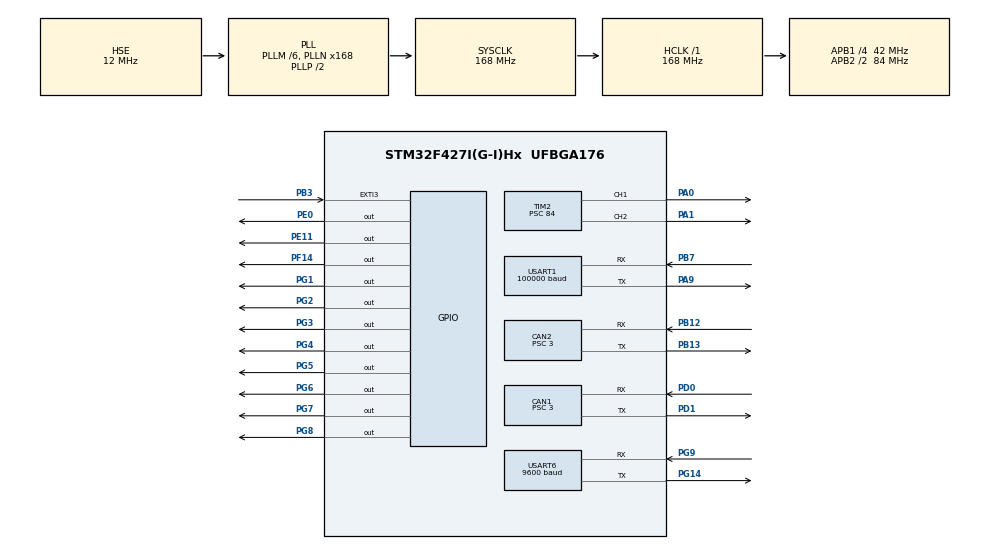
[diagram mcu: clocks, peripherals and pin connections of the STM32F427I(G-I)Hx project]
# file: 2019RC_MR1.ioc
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CAN1.BS1=CAN_BS1_9TQ
CAN1.BS2=CAN_BS2_4TQ
CAN1.CalculateTimeQuantum=71.42857142857143
CAN1.Prescaler=3
CAN2.BS1=CAN_BS1_9TQ
CAN2.BS2=CAN_BS2_4TQ
CAN2.CalculateTimeQuantum=71.42857142857143
CAN2.Prescaler=3
Dma.Request0=USART1_RX
Dma.Request1=USART6_RX
Dma.Request2=USART6_TX
Dma.USART1_RX.0.Direction=DMA_PERIPH_TO_MEMORY
Dma.USART1_RX.0.FIFOMode=DMA_FIFOMODE_DISABLE
Dma.USART1_RX.0.Instance=DMA2_Stream2
Dma.USART1_RX.0.MemDataAlignment=DMA_MDATAALIGN_BYTE
Dma.USART1_RX.0.MemInc=DMA_MINC_ENABLE
Dma.USART1_RX.0.Mode=DMA_NORMAL
Dma.USART1_RX.0.PeriphDataAlignment=DMA_PDATAALIGN_BYTE
Dma.USART1_RX.0.PeriphInc=DMA_PINC_DISABLE
Dma.USART1_RX.0.Priority=DMA_PRIORITY_LOW
Dma.USART6_RX.1.Direction=DMA_PERIPH_TO_MEMORY
Dma.USART6_RX.1.FIFOMode=DMA_FIFOMODE_DISABLE
Dma.USART6_RX.1.Instance=DMA2_Stream1
Dma.USART6_RX.1.MemDataAlignment=DMA_MDATAALIGN_BYTE
Dma.USART6_RX.1.MemInc=DMA_MINC_ENABLE
Dma.USART6_RX.1.Mode=DMA_NORMAL
Dma.USART6_RX.1.PeriphDataAlignment=DMA_PDATAALIGN_BYTE
Dma.USART6_RX.1.PeriphInc=DMA_PINC_DISABLE
Dma.USART6_RX.1.Priority=DMA_PRIORITY_LOW
Dma.USART6_TX.2.Direction=DMA_MEMORY_TO_PERIPH
Dma.USART6_TX.2.FIFOMode=DMA_FIFOMODE_DISABLE
Dma.USART6_TX.2.Instance=DMA2_Stream6
Dma.USART6_TX.2.MemDataAlignment=DMA_MDATAALIGN_BYTE
Dma.USART6_TX.2.MemInc=DMA_MINC_ENABLE
Dma.USART6_TX.2.Mode=DMA_NORMAL
Dma.USART6_TX.2.PeriphDataAlignment=DMA_PDATAALIGN_BYTE
Dma.USART6_TX.2.PeriphInc=DMA_PINC_DISABLE
Dma.USART6_TX.2.Priority=DMA_PRIORITY_LOW
FREERTOS.BinarySemaphores01=JudgeSignal,Dynamic,NULL
FREERTOS.Tasks01=MR1Other,0,128,MR1OtherTask,Default,NULL,Dynamic,NULL,NULL;LEDShowTask,0,128,LEDShow,Default,NULL,Dynamic,NULL,NULL;RobotTask,0,4096,MR1MainTask,Default,NULL,Dynamic,NULL,NULL
FREERTOS.Timers01=SuperviseTimer,SuperviseTask,osTimerPeriodic,Default,NULL,Dynamic,NULL
FREERTOS.configTIMER_TASK_PRIORITY=3
FREERTOS.configTOTAL_HEAP_SIZE=30000
FREERTOS.configUSE_TIMERS=1
Mcu.Family=STM32F4
Mcu.Name=STM32F427I(G-I)Hx
Mcu.Package=UFBGA176
NVIC.CAN1_RX0_IRQn=true\:5\:0\:false\:false\:true\:true\:true
NVIC.CAN2_RX0_IRQn=true\:5\:0\:false\:false\:true\:true\:true
NVIC.DMA2_Stream1_IRQn=true\:5\:0\:false\:false\:true\:true\:false
NVIC.DMA2_Stream2_IRQn=true\:5\:0\:false\:false\:true\:true\:false
NVIC.DMA2_Stream6_IRQn=true\:5\:0\:false\:false\:true\:true\:false
NVIC.EXTI3_IRQn=true\:5\:0\:false\:false\:true\:true\:true
NVIC.PriorityGroup=NVIC_PRIORITYGROUP_4
NVIC.TIM7_IRQn=true\:0\:0\:false\:false\:true\:false\:false
NVIC.TimeBase=TIM7_IRQn
NVIC.TimeBaseIP=TIM7
PA0/WKUP.Signal=S_TIM2_CH1_ETR
PA1.Signal=S_TIM2_CH2
PA13.Mode=Serial_Wire
PA13.Signal=SYS_JTMS-SWDIO
PA14.Mode=Serial_Wire
PA14.Signal=SYS_JTCK-SWCLK
PA9.Mode=Asynchronous
PA9.Signal=USART1_TX
PB12.Mode=Slave
PB12.Signal=CAN2_RX
PB13.Mode=Slave
PB13.Signal=CAN2_TX
PB3.Signal=GPXTI3
PB7.Mode=Asynchronous
PB7.Signal=USART1_RX
PD0.Mode=Master
PD0.Signal=CAN1_RX
PD1.Mode=Master
PD1.Signal=CAN1_TX
PD12.Signal=S_TIM4_CH1
PE0.GPIO_PuPd=GPIO_PULLUP
PE0.GPIO_Speed=GPIO_SPEED_FREQ_HIGH
PE0.Signal=GPIO_Output
PE11.Signal=GPIO_Output
PE7.Signal=UART7_RX
PE8.Signal=UART7_TX
PF14.Signal=GPIO_Output
PG1.Signal=GPIO_Output
PG14.Mode=Asynchronous
PG14.Signal=USART6_TX
PG2.Signal=GPIO_Output
PG3.Signal=GPIO_Output
PG4.Signal=GPIO_Output
PG5.Signal=GPIO_Output
PG6.Signal=GPIO_Output
PG7.Signal=GPIO_Output
PG8.Signal=GPIO_Output
PG9.Mode=Asynchronous
PG9.Signal=USART6_RX
PH0/OSC_IN.Mode=HSE-External-Oscillator
PH0/OSC_IN.Signal=RCC_OSC_IN
PH1/OSC_OUT.Mode=HSE-External-Oscillator
PH1/OSC_OUT.Signal=RCC_OSC_OUT
PI5.Signal=S_TIM8_CH1
PI6.Signal=S_TIM8_CH2
ProjectManager.HeapSize=0x200
ProjectManager.StackSize=0x400
ProjectManager.TargetToolchain=MDK-ARM V5
RCC.48MHZClocksFreq_Value=84000000
RCC.AHBFreq_Value=168000000
RCC.APB1CLKDivider=RCC_HCLK_DIV4
RCC.APB1Freq_Value=42000000
RCC.APB1TimFreq_Value=84000000
RCC.APB2CLKDivider=RCC_HCLK_DIV2
RCC.APB2Freq_Value=84000000
RCC.APB2TimFreq_Value=168000000
RCC.CortexFreq_Value=168000000
RCC.HCLKFreq_Value=168000000
RCC.HSE_VALUE=12000000
RCC.HSI_VALUE=16000000
RCC.LSE_VALUE=32768
RCC.PLLM=6
RCC.PLLN=168
RCC.PLLSourceVirtual=RCC_PLLSOURCE_HSE
RCC.SYSCLKFreq_VALUE=168000000
RCC.SYSCLKSource=RCC_SYSCLKSOURCE_PLLCLK
RCC.VCOOutputFreq_Value=336000000
SH.S_TIM2_CH1_ETR.0=TIM2_CH1,PWM Generation1 CH1
SH.S_TIM2_CH2.0=TIM2_CH2,PWM Generation2 CH2
SH.S_TIM4_CH1.0=TIM4_CH1
SH.S_TIM8_CH1.0=TIM8_CH1
SH.S_TIM8_CH2.0=TIM8_CH2
TIM2.Channel-PWM\ Generation1\ CH1=TIM_CHANNEL_1
TIM2.Channel-PWM\ Generation2\ CH2=TIM_CHANNEL_2
TIM2.Period=19999
TIM2.Prescaler=84
TIM2.Pulse-PWM\ Generation1\ CH1=1000
TIM2.Pulse-PWM\ Generation2\ CH2=1000
USART1.BaudRate=100000
USART1.Parity=PARITY_EVEN
USART1.VirtualMode=VM_ASYNC
USART6.BaudRate=9600
USART6.VirtualMode=VM_ASYNC
VP_FREERTOS_VS_ENABLE.Mode=Enabled
VP_SYS_VS_tim7.Mode=TIM7
board=custom

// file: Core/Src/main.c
/* USER CODE BEGIN Header */
/**
  ******************************************************************************
  * 文件名          : main.c
  * 文件描述        : 文件主函数
  * 创建时间        : 2019.02.16
  * 作者            : 任云帆
  *-----------------------------------------------------------------------------
  * 最近修改时间    : 2019.02.16
  * 修改人          : 任云帆
  ******************************************************************************
  * 1.本代码基于STM32F427IIH6开发，编译环境为Keil 5，基于FreeRTOS进行开发。
  * 2.本代码只适用于Robocon 2019MR1机器人，不建议用于其他用途
  * 3.本代码以UTF-8格式编码，请勿以ANSI编码形式打开
  * 4.本代码包含大量中文注释，请仔细通读代码后使用
  * 5.本代码最终解释权归哈尔滨工业大学（深圳）南工问天战队所有
  *
  * Copyright (c) 2019 哈尔滨工业大学（深圳）南工问天战队 版权所有
  ******************************************************************************
  */

/* USER CODE END Header */

#include "main.h"
#include "cmsis_os.h"
#include "can.h"
#include "dma.h"
#include "tim.h"
#include "usart.h"
#include "gpio.h"

/* USER CODE BEGIN Includes */
#include "CanReceive.h"
#include "UsartReceive.h"
#include "MR1Init.h"
/* USER CODE END Includes */

void SystemClock_Config(void);
void MX_FREERTOS_Init(void);
/* USER CODE BEGIN PFP */
//extern uint8_t GyroReceiveData; /*�����ǽ�������*/
/* USER CODE END PFP */

int main(void)
{

  /* MCU Configuration--------------------------------------------------------*/

  /* Reset of all peripherals, Initializes the Flash interface and the Systick. */
  HAL_Init();

  /* Configure the system clock */
  SystemClock_Config();

  /* Initialize all configured peripherals */
  MX_GPIO_Init();
  MX_DMA_Init();
  MX_CAN1_Init();
  MX_CAN2_Init();
  MX_USART1_UART_Init();
  MX_USART6_UART_Init();
  MX_TIM2_Init();
  /* USER CODE BEGIN 2 */
	HAL_TIM_Base_Start_IT(&htim2);
	HAL_TIM_PWM_Start(&htim2, TIM_CHANNEL_1);       //PWM1,���ڿ��ƻ�е��ĵ����ûд��
//	HAL_TIM_PWM_Start(&htim2, TIM_CHANNEL_2);       //PWM2,���ڿ��ƻ�е��ĵ����ûд��
	HAL_UART_Receive_DMA(&huart6, &UsartReceiveGyro, 1u);      //�������������ݽ��մ���6
  HAL_UART_Receive_DMA(&huart1, UsartReceiveRemote, 18u);              //����ң�������ݽ��մ���1
	CanFilterInit(&hcan1);          //��ʼ��CAN1������
	CanFilterInit(&hcan2);          //��ʼ��CAN2������
  /* USER CODE END 2 */

  /* Call init function for freertos objects (in freertos.c) */
  MX_FREERTOS_Init();

  /* Start scheduler */
  osKernelStart();

  /* We should never get here as control is now taken by the scheduler */

  /* Infinite loop */
  while (1)
  {

  }
}

void SystemClock_Config(void)
{
  RCC_OscInitTypeDef RCC_OscInitStruct = {0};
  RCC_ClkInitTypeDef RCC_ClkInitStruct = {0};

  /**Configure the main internal regulator output voltage
  */
  __HAL_RCC_PWR_CLK_ENABLE();
  __HAL_PWR_VOLTAGESCALING_CONFIG(PWR_REGULATOR_VOLTAGE_SCALE1);
  /**Initializes the CPU, AHB and APB busses clocks
  */
  RCC_OscInitStruct.OscillatorType = RCC_OSCILLATORTYPE_HSE;
  RCC_OscInitStruct.HSEState = RCC_HSE_ON;
  RCC_OscInitStruct.PLL.PLLState = RCC_PLL_ON;
  RCC_OscInitStruct.PLL.PLLSource = RCC_PLLSOURCE_HSE;
  RCC_OscInitStruct.PLL.PLLM = 6;
  RCC_OscInitStruct.PLL.PLLN = 168;
  RCC_OscInitStruct.PLL.PLLP = RCC_PLLP_DIV2;
  RCC_OscInitStruct.PLL.PLLQ = 4;
  if (HAL_RCC_OscConfig(&RCC_OscInitStruct) != HAL_OK)
  {
    Error_Handler();
  }
  /**Initializes the CPU, AHB and APB busses clocks
  */
  RCC_ClkInitStruct.ClockType = RCC_CLOCKTYPE_HCLK|RCC_CLOCKTYPE_SYSCLK
                              |RCC_CLOCKTYPE_PCLK1|RCC_CLOCKTYPE_PCLK2;
  RCC_ClkInitStruct.SYSCLKSource = RCC_SYSCLKSOURCE_PLLCLK;
  RCC_ClkInitStruct.AHBCLKDivider = RCC_SYSCLK_DIV1;
  RCC_ClkInitStruct.APB1CLKDivider = RCC_HCLK_DIV4;
  RCC_ClkInitStruct.APB2CLKDivider = RCC_HCLK_DIV2;

  if (HAL_RCC_ClockConfig(&RCC_ClkInitStruct, FLASH_LATENCY_5) != HAL_OK)
  {
    Error_Handler();
  }
}

void HAL_TIM_PeriodElapsedCallback(TIM_HandleTypeDef *htim)
{
  if (htim->Instance == TIM7) {
    HAL_IncTick();
  }
}

void Error_Handler(void)
{
}

/************************ (C) COPYRIGHT STMicroelectronics *****END OF FILE****/

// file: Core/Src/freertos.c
/**
  ******************************************************************************
  * 文件名          : freertos.c
  * 创建时间        : 2019.02.12
  * 作者            : 任云帆
  *-----------------------------------------------------------------------------
  * 最近修改时间    : 2019.02.15
  * 修改人          : 任云帆
  ******************************************************************************
	*																文件描述																		 *
	******************************************************************************
	*	操作系统启动，多任务线程管理
	******************************************************************************
  * 1.本代码基于STM32F427IIH6开发，编译环境为Keil 5，基于FreeRTOS进行开发。
  * 2.本代码只适用于Robocon 2019MR1机器人，不建议用于其他用途
  * 3.本代码以UTF-8格式编码，请勿以ANSI编码形式打开
  * 4.本代码包含大量中文注释，请仔细通读代码后使用
  * 5.本代码最终解释权归哈尔滨工业大学（深圳）南工问天战队所有
  *
  * Copyright (c) 2019 哈尔滨工业大学（深圳）南工问天战队 版权所有
  ******************************************************************************
  */
/* USER CODE END Header */

#include "FreeRTOS.h"
#include "task.h"
#include "main.h"
#include "cmsis_os.h"

/* USER CODE BEGIN Includes */
#include "gpio.h"
#include "usart.h"
#include "tim.h"
#include "Supervise.h"
#include "UsartReceive.h"
#include "CanReceive.h"
#include "MR1Init.h"
#include "Mission.h"
#include "Calculate.h"
#include "SendSignal.h"
#include "LED.h"
/* USER CODE END Includes */

/* USER CODE BEGIN PTD */
int flag ;
int aaa;
/* USER CODE END PTD */

/* USER CODE BEGIN PD */
#define CHASSIS
/* USER CODE END PD */

osThreadId MR1OtherHandle;
osThreadId LEDShowTaskHandle;
osThreadId RobotTaskHandle;
osTimerId SuperviseTimerHandle;
osSemaphoreId JudgeSignalHandle;

void MR1OtherTask(void const * argument);
void LEDShow(void const * argument);
void MR1MainTask(void const * argument);
void SuperviseTask(void const * argument);

void MX_FREERTOS_Init(void); /* (MISRA C 2004 rule 8.1) */

void MX_FREERTOS_Init(void) {

  /* Create the semaphores(s) */
  /* definition and creation of JudgeSignal */
  osSemaphoreDef(JudgeSignal);
  JudgeSignalHandle = osSemaphoreCreate(osSemaphore(JudgeSignal), 1);

  /* Create the timer(s) */
  /* definition and creation of SuperviseTimer */
  osTimerDef(SuperviseTimer, SuperviseTask);
  SuperviseTimerHandle = osTimerCreate(osTimer(SuperviseTimer), osTimerPeriodic, NULL);

  /* USER CODE BEGIN RTOS_TIMERS */
  /* start timers, add new ones, ... */
		osTimerStart(SuperviseTimerHandle, 2);
  /* USER CODE END RTOS_TIMERS */

  /* Create the thread(s) */
  /* definition and creation of MR1Other */
  osThreadDef(MR1Other, MR1OtherTask, osPriorityNormal, 0, 128);
  MR1OtherHandle = osThreadCreate(osThread(MR1Other), NULL);

  /* definition and creation of LEDShowTask */
  osThreadDef(LEDShowTask, LEDShow, osPriorityNormal, 0, 128);
  LEDShowTaskHandle = osThreadCreate(osThread(LEDShowTask), NULL);

  /* definition and creation of RobotTask */
  osThreadDef(RobotTask, MR1MainTask, osPriorityNormal, 0, 4096);
  RobotTaskHandle = osThreadCreate(osThread(RobotTask), NULL);

}

/* USER CODE BEGIN Header_MR1OtherTask */
/**
  * @brief  未定义留作备用线程
  * @param  argument: Not used
  * @retval None
  */
/* USER CODE END Header_MR1OtherTask */
void MR1OtherTask(void const * argument)
{

  /* USER CODE BEGIN MR1OtherTask */
  /* Infinite loop */
  for(;;)
  {
		if(MR1.Chassis_Motor[0].fdbSpeed>5000)
		{
			MR1.WorkState=L2_Rx_STOP;
			SendSignal();
		}
    osDelay(1);
  }
  /* USER CODE END MR1OtherTask */
}

/* USER CODE BEGIN Header_LEDShow */
/**
* @brief LED闪烁线程
* @param None
* @retval None
*/
/* USER CODE END Header_LEDShow */
void LEDShow(void const * argument)
{
  /* USER CODE BEGIN LEDShow */
	HAL_GPIO_WritePin(GPIOE,GPIO_PIN_11,GPIO_PIN_SET);//初始化为熄灭
	HAL_GPIO_WritePin(GPIOF,GPIO_PIN_14,GPIO_PIN_SET);//停止状态红灯亮
  /* Infinite loop */
  for(;;)
  {
//		switch(MR1.WorkState)
//		{
//			case L1_R2_MANUAL:
//				LED_MANUAL();break;
//			case L2_Rx_STOP:
//				LED_STOP();break;
//			case L3_R2_Move:
//				LED_HIGH();break;
//			default:;
//		}
		LED_Water();
		osDelay(1);

  }
  /* USER CODE END LEDShow */
}

/* USER CODE BEGIN Header_MR1MainTask */
/**
* @brief MR1工作主线程
* @param argument: Not used
* @retval None
*/
/* USER CODE END Header_MR1MainTask */
void MR1MainTask(void const * argument)
{
  /* USER CODE BEGIN MR1MainTask */
	RobotParamInit();

	HAL_GPIO_WritePin(GPIOF,GPIO_PIN_0,GPIO_PIN_SET);//使能电机脚部
	HAL_GPIO_WritePin(GPIOE,GPIO_PIN_4,GPIO_PIN_SET);//使能电机脚部
	HAL_GPIO_WritePin(GPIOF,GPIO_PIN_1,GPIO_PIN_SET);//使能电机脚部
		__HAL_TIM_SetCompare(&htim2, TIM_CHANNEL_1,1750);
  /* Infinite loop */
  for(;;)
  {
		switch(MR1.WorkState)
		{
			case L1_R2_MANUAL:
				MR1_MANUAL();StopShoot();break;
			case L2_Rx_STOP:
				MR1_STOP();StopShoot();break;
			case L3_R2_Move:
				MR1_SetStage();StopShoot();break;
			case L3_R1_Pick:
				StopShoot(); break;
			case L1_R1_ToToken:
				MR1_ToToken();StopShoot();break;
			case 	L1_R3_TransToken:
				MR1_TransToken();StopShoot();break;
			case L3_R3_Shoot:
				MR1_Shoot();break;
			default:MR1_STOP();
		}

		osDelay(1);

  /* USER CODE END MR1MainTask */
		}
	}

/* SuperviseTask function */
void SuperviseTask(void const * argument)
{
  /* USER CODE BEGIN SuperviseTask */
  //  SuperVise();
  /* USER CODE END SuperviseTask */
}

/* USER CODE BEGIN Application */

/**
* @brief USART串口接收回调函数
* @param 串口实例句柄
* @retval None
*/
void HAL_UART_RxCpltCallback (UART_HandleTypeDef *huart)
{
	if(huart == &huart1)          //串口1作为遥控器接收句�?
	{
		HAL_UART_Receive_DMA(&huart1, UsartReceiveRemote, 18u);
		RemoteReceiveHandle();      //进入串口接收解码函数
  }
  else if(huart == &huart6)     //串口6作为�?螺仪接收句柄
	{
		HAL_UART_Receive_DMA(&huart6, &UsartReceiveGyro, 1u);
		GyroReceiveHandle();        //进入串口接收解码函数
	}
}

/**
* @brief CAN通信接收回调函数
* @param CAN接口实例句柄
* @retval None
*/
void HAL_CAN_RxFifo0MsgPendingCallback(CAN_HandleTypeDef *hcan)
{
	CAN_RxHeaderTypeDef   RxHeader;
	if(HAL_CAN_GetRxMessage(hcan, CAN_RX_FIFO0, &RxHeader, CanReceiveData) != HAL_OK)
  {
    Error_Handler();            //错误状�?�回调函�?
  }
  CanDataReceive(RxHeader.StdId);   //根据电机号对CAN接收进行解码
}
/* USER CODE END Application */

/************************ (C) COPYRIGHT STMicroelectronics *****END OF FILE****/
